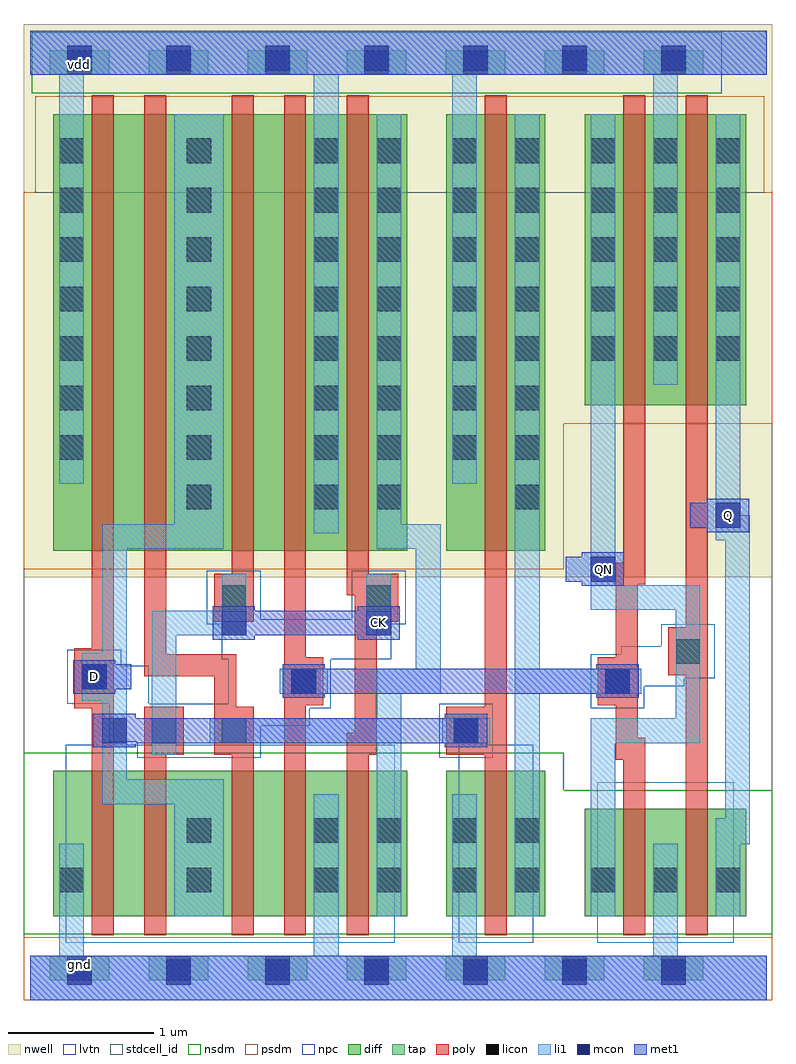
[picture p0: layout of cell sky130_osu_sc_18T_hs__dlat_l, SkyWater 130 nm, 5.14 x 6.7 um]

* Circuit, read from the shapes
.subckt sky130_osu_sc_18T_hs__dlat_l CK D Q QN gnd vdd
XM1 n1 D gnd gnd sky130_fd_pr__nfet_01v8_lvt w=1 l=0.15
XM2 D CK n1 gnd sky130_fd_pr__nfet_01v8_lvt w=1 l=0.15
XM3 n2 n3 D gnd sky130_fd_pr__nfet_01v8_lvt w=1 l=0.15
XM4 gnd n4 n2 gnd sky130_fd_pr__nfet_01v8_lvt w=1 l=0.15
XM5 n3 CK gnd gnd sky130_fd_pr__nfet_01v8_lvt w=1 l=0.15
XM6 n4 D gnd gnd sky130_fd_pr__nfet_01v8_lvt w=1 l=0.15
XM7 gnd n4 QN gnd sky130_fd_pr__nfet_01v8_lvt w=0.74 l=0.15
XM8 Q QN gnd gnd sky130_fd_pr__nfet_01v8_lvt w=0.74 l=0.15
XM9 n5 D vdd vdd sky130_fd_pr__pfet_01v8 w=3 l=0.15
XM10 D n3 n5 vdd sky130_fd_pr__pfet_01v8 w=3 l=0.15
XM11 n6 CK D vdd sky130_fd_pr__pfet_01v8 w=3 l=0.15
XM12 vdd n4 n6 vdd sky130_fd_pr__pfet_01v8 w=3 l=0.15
XM13 n3 CK vdd vdd sky130_fd_pr__pfet_01v8 w=3 l=0.15
XM14 n4 D vdd vdd sky130_fd_pr__pfet_01v8 w=3 l=0.15
XM15 vdd n4 QN vdd sky130_fd_pr__pfet_01v8 w=2 l=0.15
XM16 Q QN vdd vdd sky130_fd_pr__pfet_01v8 w=2 l=0.15
.ends

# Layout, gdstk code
import gdstk
lib = gdstk.Library(unit=1e-6, precision=1e-09)
def R(c, l, rs):  # rectangles x0, y0, x1, y1
    for r in rs: c.add(gdstk.rectangle(r[:2], r[2:], *l))
def A(c, l, x, y, w, h, nx, ny, dx, dy):  # array of equal rectangles
    R(c, l, [(x+i*dx, y+j*dy, x+i*dx+w, y+j*dy+h) for i in range(nx) for j in range(ny)])
nwell = (64, 20)
diff = (65, 20)
tap = (65, 44)
poly = (66, 20)
licon = (66, 44)
li1 = (67, 20)
mcon = (67, 44)
met1 = (68, 20)
stdcell_id = (81, 4)
nsdm = (93, 44)
psdm = (94, 20)
npc = (95, 20)
lvtn = (125, 44)

sky130_osu_sc_18t_hs__dl = lib.new_cell('sky130_osu_sc_18T_hs__dlat_l')
R(sky130_osu_sc_18t_hs__dl, nwell, [(-0.045,2.905,5.1,6.705)])
R(sky130_osu_sc_18t_hs__dl, diff, [(0.16,0.575,2.59,1.575), (2.86,0.575,3.54,1.575), (3.81,0.575,4.92,1.315), (0.16,3.085,2.59,6.085), (2.86,3.085,3.54,6.085), (3.81,4.085,4.92,6.085)])
A(sky130_osu_sc_18t_hs__dl, tap, 0.135, 0.135, 0.41, 0.17, 7, 2, 0.68, 6.22)
R(sky130_osu_sc_18t_hs__dl, poly, [(0.425,0.445,0.575,2.005), (0.785,0.445,0.935,1.685), (1.385,0.445,1.535,1.685), (1.745,0.445,1.895,2.025), (2.175,0.445,2.325,1.685), (3.125,0.445,3.275,1.685), (4.075,0.445,4.225,1.65), (4.505,0.445,4.655,2.23), (4.025,1.65,4.225,1.8), (0.785,1.685,1.055,2.015), (1.265,1.685,1.535,2.015), (2.175,1.685,2.38,1.835), (2.86,1.685,3.275,2.015), (4.025,1.8,4.175,2.025), (2.23,1.835,2.38,2.6), (0.305,2.005,0.575,2.415), (1.265,2.015,1.415,2.225), (3.125,2.015,3.275,6.215), (1.745,2.025,2.015,2.355), (3.9,2.025,4.175,2.355), (0.785,2.225,1.415,2.375), (4.385,2.23,4.655,2.56), (1.745,2.355,1.895,6.215), (4.025,2.355,4.175,2.855), (0.785,2.375,0.935,6.215), (0.425,2.415,0.575,6.215), (4.505,2.56,4.655,6.215), (1.265,2.6,1.535,2.93), (2.23,2.6,2.53,2.78), (2.175,2.78,2.53,2.93), (4.025,2.855,4.225,3.005), (1.385,2.93,1.535,6.215), (2.175,2.93,2.325,6.215), (4.075,3.005,4.225,6.215)])
A(sky130_osu_sc_18t_hs__dl, licon, 0.255, 0.135, 0.17, 0.17, 7, 2, 0.68, 6.22)
A(sky130_osu_sc_18t_hs__dl, licon, 0.2, 0.74, 0.17, 0.17, 3, 2, 0.875, 2.97)
A(sky130_osu_sc_18t_hs__dl, licon, 3.85, 0.74, 0.17, 0.17, 3, 2, 0.43, 3.65)
A(sky130_osu_sc_18t_hs__dl, licon, 2.38, 3.37, 0.17, 0.17, 1, 8, 0, 0.34)
A(sky130_osu_sc_18t_hs__dl, licon, 3.33, 3.37, 0.17, 0.17, 1, 8, 0, 0.34)
A(sky130_osu_sc_18t_hs__dl, licon, 2.9, 3.71, 0.17, 0.17, 1, 7, 0, 0.34)
A(sky130_osu_sc_18t_hs__dl, licon, 0.2, 4.05, 0.17, 0.17, 3, 6, 0.875, 0.34)
A(sky130_osu_sc_18t_hs__dl, licon, 3.85, 4.73, 0.17, 0.17, 3, 4, 0.43, 0.34)
R(sky130_osu_sc_18t_hs__dl, licon, [(2.38,0.74,2.55,0.91), (2.9,0.74,3.07,0.91), (3.33,0.74,3.5,0.91), (1.075,1.08,1.245,1.25), (1.95,1.08,2.12,1.25), (2.38,1.08,2.55,1.25), (2.9,1.08,3.07,1.25), (3.33,1.08,3.5,1.25), (0.835,1.765,1.005,1.935), (1.315,1.765,1.485,1.935), (2.91,1.765,3.08,1.935), (1.795,2.105,1.965,2.275), (3.95,2.105,4.12,2.275), (0.355,2.135,0.525,2.305), (4.435,2.31,4.605,2.48), (1.315,2.68,1.485,2.85), (2.31,2.68,2.48,2.85), (1.075,3.37,1.245,3.54), (1.95,3.37,2.12,3.54)])
R(sky130_osu_sc_18t_hs__dl, li1, [(0,0,5.06,0.305), (0.2,0.305,0.37,1.075), (1.95,0.305,2.12,1.415), (2.9,0.305,3.07,1.415), (4.28,0.305,4.45,1.075), (0.99,0.575,1.33,1.345), (2.38,0.575,2.55,1.765), (3.33,0.575,3.5,2.105), (3.85,0.575,4.02,1.765), (4.71,0.575,4.88,1.07), (4.71,1.07,4.945,1.25), (4.775,1.25,4.945,3.16), (0.495,1.345,1.33,1.515), (0.495,1.515,0.665,2.055), (0.835,1.685,1.005,2.505), (1.235,1.765,2.55,1.935), (2.83,1.765,3.16,1.935), (3.85,1.765,4.605,1.935), (2.38,1.935,2.55,2.105), (4.435,1.935,4.605,2.68), (0.355,2.055,0.665,2.385), (1.715,2.105,2.045,2.275), (2.38,2.105,2.82,2.275), (3.33,2.105,4.2,2.275), (2.65,2.275,2.82,3.1), (3.33,2.275,3.5,6.085), (0.495,2.385,0.665,3.1), (0.835,2.505,1.485,2.675), (2.31,2.505,2.48,2.93), (1.315,2.675,1.485,2.93), (3.85,2.68,4.605,2.85), (3.85,2.85,4.02,6.085), (0.495,3.1,1.33,3.27), (2.38,3.1,2.82,3.27), (4.71,3.16,4.945,3.33), (1.95,3.205,2.12,6.355), (0.99,3.27,1.33,6.085), (2.38,3.27,2.55,6.085), (4.71,3.33,4.88,6.085), (0.2,3.545,0.37,6.355), (2.9,3.545,3.07,6.355), (4.28,4.225,4.45,6.355), (0,6.355,5.06,6.66)])
A(sky130_osu_sc_18t_hs__dl, mcon, 0.255, 0.105, 0.17, 0.17, 7, 2, 0.68, 6.28)
R(sky130_osu_sc_18t_hs__dl, mcon, [(0.495,1.765,0.665,1.935), (2.91,1.765,3.08,1.935), (1.795,2.105,1.965,2.275), (3.95,2.105,4.12,2.275), (0.355,2.135,0.525,2.305), (1.315,2.505,1.485,2.675), (2.31,2.505,2.48,2.675), (3.85,2.875,4.02,3.045), (4.71,3.245,4.88,3.415)])
R(sky130_osu_sc_18t_hs__dl, met1, [(0,0,5.06,0.305), (0.435,1.735,0.725,1.765), (2.85,1.735,3.14,1.765), (0.435,1.765,3.14,1.935), (0.435,1.935,0.725,1.965), (2.85,1.935,3.14,1.965), (1.735,2.075,2.025,2.105), (3.89,2.075,4.18,2.105), (0.295,2.105,0.585,2.135), (1.735,2.105,4.18,2.275), (0.295,2.135,0.695,2.305), (1.735,2.275,2.025,2.305), (3.89,2.275,4.18,2.305), (0.295,2.305,0.585,2.335), (1.255,2.475,1.545,2.505), (2.25,2.475,2.54,2.505), (1.255,2.505,2.54,2.675), (1.255,2.675,1.545,2.705), (2.25,2.675,2.54,2.705), (3.79,2.845,4.08,2.875), (3.68,2.875,4.08,3.045), (3.79,3.045,4.08,3.075), (4.65,3.215,4.94,3.245), (4.535,3.245,4.94,3.415), (4.65,3.415,4.94,3.445), (0,6.355,5.06,6.66)])
R(sky130_osu_sc_18t_hs__dl, stdcell_id, [(-0.045,0,5.1,5.55)])
R(sky130_osu_sc_18t_hs__dl, nsdm, [(-0.045,0.45,5.1,1.44), (-0.045,1.44,3.665,1.7), (0.01,6.23,4.75,6.65)])
R(sky130_osu_sc_18t_hs__dl, psdm, [(-0.045,0,5.1,0.43), (-0.045,2.96,3.665,3.96), (-0.045,3.96,5.1,5.55), (0.035,5.55,5.045,6.21)])
R(sky130_osu_sc_18t_hs__dl, npc, [(0.735,1.665,1.585,1.775), (2.81,1.665,3.18,2.035), (0.545,1.775,1.585,1.885), (0.545,1.885,1.92,2.005), (0.545,2.005,2.065,2.035), (3.85,2.005,4.22,2.155), (0.255,2.035,0.815,2.295), (1.36,2.035,2.065,2.34), (3.85,2.155,4.495,2.21), (3.85,2.21,4.705,2.375), (0.255,2.295,0.625,2.405), (1.315,2.34,2.48,2.58), (4.06,2.375,4.705,2.43), (4.335,2.43,4.705,2.58), (1.215,2.58,2.58,2.615), (1.215,2.615,1.585,2.95), (2.21,2.615,2.58,2.95)])
R(sky130_osu_sc_18t_hs__dl, lvtn, [(0.245,0.395,2.505,1.755), (2.945,0.395,3.455,1.755), (3.895,0.395,4.835,1.495)])
sky130_osu_sc_18t_hs__dl.add(gdstk.Label('gnd', (0.34,0.245), layer=68, texttype=16))
sky130_osu_sc_18t_hs__dl.add(gdstk.Label('vdd', (0.34,6.425), layer=68, texttype=16))
sky130_osu_sc_18t_hs__dl.add(gdstk.Label('CK', (2.395,2.59), layer=68, texttype=5))
sky130_osu_sc_18t_hs__dl.add(gdstk.Label('QN', (3.94,2.96), layer=68, texttype=5))
sky130_osu_sc_18t_hs__dl.add(gdstk.Label('D', (0.44,2.22), layer=68, texttype=5))
sky130_osu_sc_18t_hs__dl.add(gdstk.Label('Q', (4.795,3.33), layer=68, texttype=5))

lib.write_gds('sky130_osu_sc_18T_hs__dlat_l.gds')
